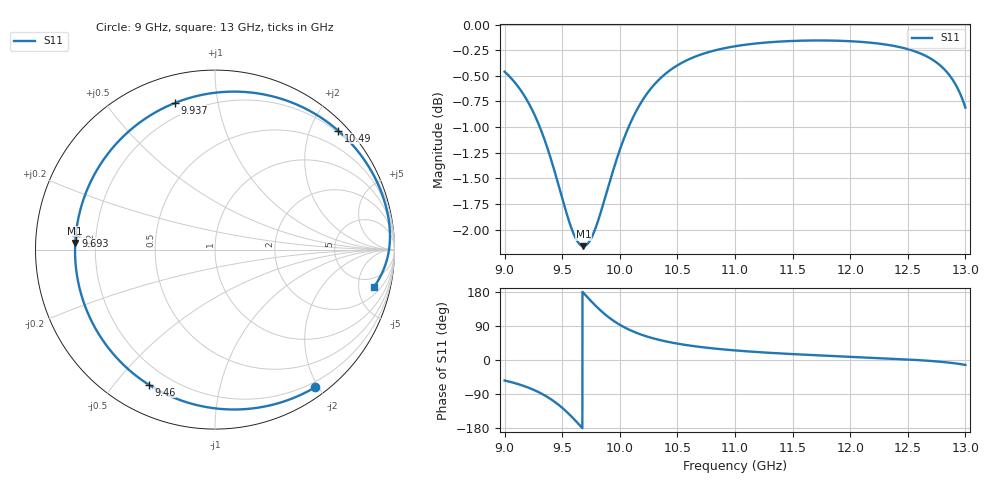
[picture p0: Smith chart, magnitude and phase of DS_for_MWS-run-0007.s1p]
! TOUCHSTONE file generated by CST DESIGN STUDIO
! Date and time: Tue Feb  4 16:08:44 2025
! Project name: C:\Work\MatlabApps\UnitCellOptimizationMatlab\CST\unitcell.cst
! Tree item: Tasks\Sweep1\SPara1\S-Parameters
! Header version: 2024
! Port assignment regex: !\s*Touchstone port\s*([0-9]+)\s*=\s*(CST MWS port|CST DES external port|CST DES block port)\s*(.+)\s* \(\"(.*)\"\)(\s*mode\s*([0-9]+))?.*
! Touchstone port assignment:
! Touchstone port 1 = CST DES external port 1 ("")
# GHz S MA R 50
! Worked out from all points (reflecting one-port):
!   4001 points, 9 GHz to 13 GHz, reference 50 ohm
!   lowest |S11| = -2.2 dB at 9.684 GHz (marker M1), VSWR 8.08, Z = 6.19 + j1.19 ohm
!   phase of S11 starts at -54 deg and turns -319 deg over the sweep
!   S11 on the Smith chart (normalised r, x): 9 GHz: 0.13, -1.95; 9.46 GHz: 0.12, -0.62; 9.693 GHz: 0.12, +0.05; 9.937 GHz: 0.13, +0.76; 10.49 GHz: 0.17, +2.47; 13 GHz: 3.09, -7.48
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9  0.9485 -54.1
9.15  0.9271 -66.8
9.291  0.8954 -84.2
9.382  0.867 -99.5
9.46  0.8382 -116.2
9.5  0.8229 -126.2
9.549  0.8053 -139.7
9.601  0.7901 -155.6
9.643  0.7824 -169.2
9.684  0.7797 177.2
9.693  0.7799 174.2
9.752  0.7867 154.9
9.82  0.805 134.4
9.877  0.825 119.1
9.937  0.847 105.3
10  0.8687 92.9
10.107  0.8992 76.4
10.218  0.9223 63.7
10.342  0.9403 53.1
10.486  0.9542 44.0
10.5  0.9552 43.2
10.719  0.9675 33.6
11  0.9759 25.3
11.5  0.9818 15.6
12  0.9815 8.5
12.5  0.9728 1.4
12.784  0.9549 -4.6
13  0.911 -13.1
